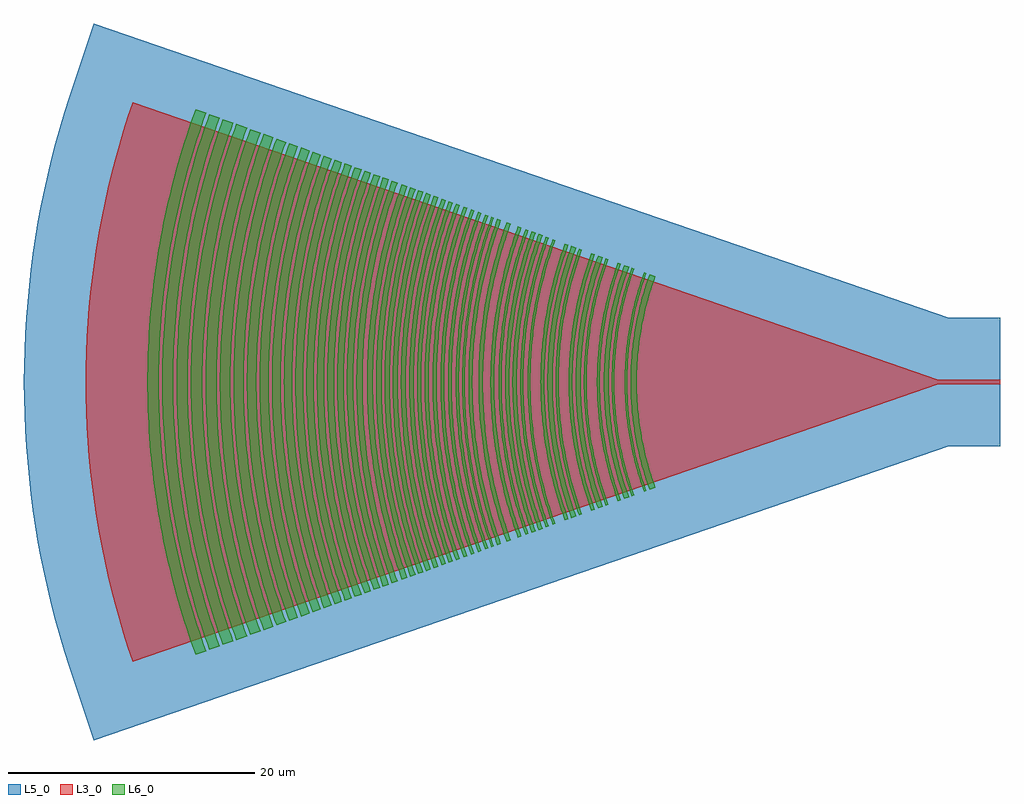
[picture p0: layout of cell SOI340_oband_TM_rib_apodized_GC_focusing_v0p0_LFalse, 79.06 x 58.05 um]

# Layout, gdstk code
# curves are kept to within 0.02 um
import gdstk
lib = gdstk.Library(unit=1e-6, precision=1e-09)
def P(c, l, *ps):  # polygons
    for p in ps: c.add(gdstk.Polygon(p, *l))
L3_0 = (3, 0)
L5_0 = (5, 0)
L6_0 = (6, 0)

soi340_oband_tm_rib_apod = lib.new_cell('SOI340_oband_TM_rib_apodized_GC_focusing_v0p0_LFalse')
P(soi340_oband_tm_rib_apod, L3_0, [(-70.264,-22.672),(-71.015,-20.36),(-71.685,-18.024),(-71.989,-16.847),(-72.273,-15.665),(-72.779,-13.288),(-73.201,-10.894),(-73.539,-8.487),(-73.793,-6.069),(-73.963,-3.645),(-74.016,-2.43),(-74.058,0),(-74.016,2.43),(-73.963,3.645),(-73.793,6.069),(-73.539,8.487),(-73.201,10.894),(-72.779,13.288),(-72.273,15.665),(-71.989,16.847),(-71.36,19.195),(-70.65,21.52),(-70.264,22.672),(-5,0.2),(0,0.2),(0,-0.2),(-5,-0.2)])
P(soi340_oband_tm_rib_apod, L5_0, [(-73.364,-29.027),(-73.416,-29.001),(-75.406,-23.065),(-76.166,-20.574),(-76.841,-18.056),(-77.427,-15.52),(-77.687,-14.242),(-78.14,-11.676),(-78.502,-9.098),(-78.65,-7.801),(-78.876,-5.208),(-78.956,-3.908),(-79.013,-2.603),(-79.058,0),(-79.013,2.603),(-78.956,3.908),(-78.876,5.208),(-78.65,7.801),(-78.502,9.098),(-78.14,11.676),(-77.687,14.242),(-77.427,15.52),(-76.841,18.056),(-76.166,20.574),(-75.406,23.065),(-73.416,29.001),(-73.364,29.027),(-4.163,5.2),(0,5.2),(0,-5.2),(-4.163,-5.2)])
P(soi340_oband_tm_rib_apod, L6_0, [(-28.389,-8.723),(-28.746,-7.672),(-29.058,-6.602),(-29.322,-5.522),(-29.539,-4.429),(-29.709,-3.329),(-29.83,-2.223),(-29.903,-1.112),(-29.927,0),(-29.903,1.112),(-29.83,2.223),(-29.709,3.329),(-29.539,4.429),(-29.322,5.522),(-29.058,6.602),(-28.746,7.672),(-28.389,8.723),(-27.911,8.551),(-28.262,7.518),(-28.567,6.47),(-28.826,5.411),(-29.039,4.341),(-29.205,3.263),(-29.324,2.179),(-29.395,1.09),(-29.419,0),(-29.395,-1.09),(-29.324,-2.179),(-29.205,-3.263),(-29.039,-4.341),(-28.826,-5.411),(-28.567,-6.47),(-28.262,-7.518),(-27.911,-8.551)],
  [(-28.831,-8.884),(-29.196,-7.812),(-29.513,-6.724),(-29.782,-5.624),(-30.003,-4.511),(-30.205,-3.166),(-30.299,-2.265),(-30.373,-1.132),(-30.398,0),(-30.373,1.132),(-30.299,2.265),(-30.205,3.166),(-30.003,4.511),(-29.782,5.624),(-29.513,6.724),(-29.196,7.812),(-28.831,8.884),(-28.643,8.817),(-29.072,7.537),(-29.377,6.455),(-29.635,5.36),(-29.881,4.033),(-30.119,2.023),(-30.198,0),(-30.119,-2.023),(-29.881,-4.033),(-29.635,-5.36),(-29.377,-6.455),(-29.072,-7.537),(-28.643,-8.817)],
  [(-29.814,-9.242),(-30.193,-8.126),(-30.523,-6.995),(-30.803,-5.85),(-31.033,-4.693),(-31.213,-3.527),(-31.341,-2.355),(-31.418,-1.179),(-31.444,0),(-31.418,1.179),(-31.341,2.355),(-31.213,3.527),(-31.033,4.693),(-30.803,5.85),(-30.523,6.995),(-30.193,8.126),(-29.814,9.242),(-29.626,9.175),(-30.072,7.843),(-30.39,6.716),(-30.658,5.577),(-30.914,4.196),(-31.072,3.037),(-31.161,2.105),(-31.228,0.936),(-31.244,0),(-31.228,-0.936),(-31.161,-2.105),(-31.072,-3.037),(-30.914,-4.196),(-30.658,-5.577),(-30.39,-6.716),(-30.072,-7.843),(-29.626,-9.175)],
  [(-30.418,-9.46),(-30.806,-8.319),(-31.144,-7.161),(-31.43,-5.988),(-31.666,-4.805),(-31.85,-3.611),(-32.001,-2.171),(-32.06,-1.206),(-32.086,0),(-32.06,1.206),(-32.001,2.171),(-31.85,3.611),(-31.666,4.805),(-31.43,5.988),(-31.144,7.161),(-30.806,8.319),(-30.418,9.46),(-30.051,9.329),(-30.434,8.202),(-30.767,7.06),(-31.049,5.904),(-31.282,4.737),(-31.463,3.56),(-31.592,2.377),(-31.67,1.19),(-31.696,0),(-31.67,-1.19),(-31.592,-2.377),(-31.463,-3.56),(-31.282,-4.737),(-31.049,-5.904),(-30.767,-7.06),(-30.434,-8.202),(-30.051,-9.329)],
  [(-30.945,-9.654),(-31.414,-8.254),(-31.685,-7.305),(-31.978,-6.109),(-32.218,-4.902),(-32.406,-3.684),(-32.539,-2.461),(-32.62,-1.231),(-32.647,0),(-32.62,1.231),(-32.539,2.461),(-32.406,3.684),(-32.218,4.902),(-31.978,6.109),(-31.685,7.305),(-31.414,8.254),(-30.945,9.654),(-30.725,9.575),(-31.19,8.185),(-31.521,7.009),(-31.851,5.581),(-32.106,4.138),(-32.327,2.196),(-32.396,0.977),(-32.413,0),(-32.396,-0.977),(-32.327,-2.196),(-32.106,-4.138),(-31.851,-5.581),(-31.521,-7.009),(-31.19,-8.185),(-30.725,-9.575)],
  [(-31.939,-10.014),(-32.425,-8.563),(-32.706,-7.579),(-33.01,-6.338),(-33.259,-5.085),(-33.453,-3.823),(-33.592,-2.552),(-33.676,-1.277),(-33.704,0),(-33.676,1.277),(-33.592,2.552),(-33.453,3.823),(-33.259,5.085),(-33.01,6.338),(-32.706,7.579),(-32.425,8.563),(-31.939,10.014),(-31.738,9.943),(-32.221,8.5),(-32.565,7.279),(-32.907,5.796),(-33.172,4.297),(-33.332,3.039),(-33.42,2.028),(-33.491,0),(-33.42,-2.028),(-33.332,-3.039),(-33.172,-4.297),(-32.907,-5.796),(-32.565,-7.279),(-32.221,-8.5),(-31.738,-9.943)],
  [(-32.558,-10.24),(-32.977,-9.005),(-33.342,-7.749),(-33.653,-6.481),(-33.908,-5.2),(-34.107,-3.909),(-34.249,-2.609),(-34.335,-1.305),(-34.363,0),(-34.335,1.305),(-34.249,2.609),(-34.107,3.909),(-33.908,5.2),(-33.653,6.481),(-33.342,7.749),(-32.977,9.005),(-32.558,10.24),(-32.177,10.103),(-32.591,8.883),(-32.951,7.645),(-33.258,6.393),(-33.509,5.129),(-33.705,3.856),(-33.846,2.574),(-33.93,1.288),(-33.958,0),(-33.93,-1.288),(-33.846,-2.574),(-33.705,-3.856),(-33.509,-5.129),(-33.258,-6.393),(-32.951,-7.645),(-32.591,-8.883),(-32.177,-10.103)],
  [(-33.095,-10.436),(-33.523,-9.177),(-33.895,-7.898),(-34.212,-6.605),(-34.471,-5.3),(-34.674,-3.983),(-34.819,-2.659),(-34.906,-1.331),(-34.935,0),(-34.906,1.331),(-34.819,2.659),(-34.674,3.983),(-34.471,5.3),(-34.212,6.605),(-33.895,7.898),(-33.523,9.177),(-33.095,10.436),(-32.812,10.334),(-33.236,9.086),(-33.672,7.565),(-34.027,6.024),(-34.302,4.466),(-34.541,2.371),(-34.616,1.054),(-34.634,0),(-34.616,-1.054),(-34.541,-2.371),(-34.302,-4.466),(-34.027,-6.024),(-33.672,-7.565),(-33.236,-9.086),(-32.812,-10.334)],
  [(-34.089,-10.799),(-34.533,-9.495),(-34.918,-8.172),(-35.245,-6.833),(-35.514,-5.483),(-35.724,-4.122),(-35.874,-2.752),(-35.964,-1.378),(-35.994,0),(-35.964,1.378),(-35.874,2.752),(-35.724,4.122),(-35.514,5.483),(-35.245,6.833),(-34.918,8.172),(-34.533,9.495),(-34.089,10.799),(-33.861,10.716),(-34.301,9.422),(-34.753,7.845),(-35.122,6.247),(-35.407,4.631),(-35.55,3.547),(-35.675,2.186),(-35.751,0),(-35.675,-2.186),(-35.55,-3.547),(-35.407,-4.631),(-35.122,-6.247),(-34.753,-7.845),(-34.301,-9.422),(-33.861,-10.716)],
  [(-34.72,-11.027),(-35.172,-9.696),(-35.566,-8.345),(-35.9,-6.98),(-36.175,-5.599),(-36.388,-4.209),(-36.541,-2.811),(-36.634,-1.407),(-36.664,0),(-36.634,1.407),(-36.541,2.811),(-36.388,4.209),(-36.175,5.599),(-35.9,6.98),(-35.566,8.345),(-35.172,9.696),(-34.72,11.027),(-34.325,10.885),(-34.771,9.57),(-35.16,8.237),(-35.49,6.888),(-35.761,5.526),(-35.972,4.154),(-36.123,2.774),(-36.214,1.388),(-36.244,0),(-36.214,-1.388),(-36.123,-2.774),(-35.972,-4.154),(-35.761,-5.526),(-35.49,-6.888),(-35.16,-8.237),(-34.771,-9.57),(-34.325,-10.885)],
  [(-35.243,-11.218),(-35.703,-9.863),(-36.104,-8.49),(-36.444,-7.1),(-36.722,-5.696),(-36.94,-4.281),(-37.096,-2.859),(-37.19,-1.431),(-37.221,0),(-37.19,1.431),(-37.096,2.859),(-36.94,4.281),(-36.722,5.696),(-36.444,7.1),(-36.104,8.49),(-35.703,9.863),(-35.243,11.218),(-34.954,11.114),(-35.494,9.501),(-35.949,7.861),(-36.262,6.478),(-36.557,4.803),(-36.814,2.55),(-36.883,1.417),(-36.914,0),(-36.883,-1.417),(-36.814,-2.55),(-36.557,-4.803),(-36.262,-6.478),(-35.949,-7.861),(-35.494,-9.501),(-34.954,-11.114)],
  [(-36.214,-11.572),(-36.689,-10.175),(-37.102,-8.757),(-37.453,-7.323),(-37.741,-5.876),(-37.965,-4.417),(-38.126,-2.948),(-38.223,-1.476),(-38.255,0),(-38.223,1.476),(-38.126,2.948),(-37.965,4.417),(-37.741,5.876),(-37.453,7.323),(-37.102,8.757),(-36.689,10.175),(-36.214,11.572),(-36.014,11.5),(-36.486,10.111),(-36.971,8.419),(-37.367,6.703),(-37.628,5.26),(-37.826,3.806),(-37.938,2.638),(-38.022,1.173),(-38.042,0),(-38.022,-1.173),(-37.938,-2.638),(-37.826,-3.806),(-37.628,-5.26),(-37.367,-6.703),(-36.971,-8.419),(-36.486,-10.111),(-36.014,-11.5)],
  [(-36.781,-11.778),(-37.263,-10.356),(-37.684,-8.914),(-38.105,-7.161),(-38.333,-5.98),(-38.562,-4.495),(-38.726,-3.001),(-38.824,-1.503),(-38.857,0),(-38.824,1.503),(-38.726,3.001),(-38.562,4.495),(-38.333,5.98),(-38.105,7.161),(-37.684,8.914),(-37.263,10.356),(-36.781,11.778),(-36.553,11.696),(-37.121,9.998),(-37.526,8.562),(-37.929,6.818),(-38.194,5.349),(-38.36,4.167),(-38.51,2.683),(-38.594,1.193),(-38.615,0),(-38.594,-1.193),(-38.51,-2.683),(-38.36,-4.167),(-38.194,-5.349),(-37.929,-6.818),(-37.526,-8.562),(-37.121,-9.998),(-36.553,-11.696)],
  [(-37.376,-11.993),(-37.867,-10.546),(-38.295,-9.077),(-38.659,-7.591),(-38.957,-6.09),(-39.19,-4.578),(-39.357,-3.056),(-39.457,-1.53),(-39.49,0),(-39.457,1.53),(-39.357,3.056),(-39.19,4.578),(-38.957,6.09),(-38.659,7.591),(-38.295,9.077),(-37.867,10.546),(-37.376,11.993),(-37.05,11.877),(-37.627,10.153),(-38.113,8.401),(-38.447,6.923),(-38.763,5.133),(-38.921,3.931),(-39.037,2.724),(-39.123,1.212),(-39.144,0),(-39.123,-1.212),(-39.037,-2.724),(-38.921,-3.931),(-38.763,-5.133),(-38.447,-6.923),(-38.113,-8.401),(-37.627,-10.153),(-37.05,-11.877)],
  [(-37.932,-12.197),(-38.433,-10.725),(-38.868,-9.231),(-39.238,-7.719),(-39.541,-6.193),(-39.778,-4.655),(-39.948,-3.108),(-40.049,-1.555),(-40.083,0),(-40.049,1.555),(-39.948,3.108),(-39.778,4.655),(-39.541,6.193),(-39.238,7.719),(-38.868,9.231),(-38.433,10.725),(-37.932,12.197),(-37.617,12.083),(-38.204,10.329),(-38.699,8.547),(-39.039,7.043),(-39.36,5.222),(-39.521,3.999),(-39.662,2.464),(-39.726,1.233),(-39.748,0),(-39.726,-1.233),(-39.662,-2.464),(-39.521,-3.999),(-39.36,-5.222),(-39.039,-7.043),(-38.699,-8.547),(-38.204,-10.329),(-37.617,-12.083)],
  [(-38.428,-12.377),(-38.935,-10.883),(-39.377,-9.367),(-39.752,-7.833),(-40.06,-6.285),(-40.3,-4.724),(-40.472,-3.155),(-40.576,-1.578),(-40.61,0),(-40.576,1.578),(-40.472,3.155),(-40.3,4.724),(-40.06,6.285),(-39.752,7.833),(-39.377,9.367),(-38.935,10.883),(-38.428,12.377),(-38.206,12.297),(-38.71,10.812),(-39.229,9.002),(-39.652,7.168),(-39.931,5.625),(-40.143,4.07),(-40.263,2.821),(-40.34,1.568),(-40.374,0),(-40.34,-1.568),(-40.263,-2.821),(-40.143,-4.07),(-39.931,-5.625),(-39.652,-7.168),(-39.229,-9.002),(-38.71,-10.812),(-38.206,-12.297)],
  [(-39.053,-12.605),(-39.569,-11.083),(-40.02,-9.539),(-40.402,-7.977),(-40.715,-6.4),(-40.959,-4.811),(-41.135,-3.212),(-41.24,-1.607),(-41.275,0),(-41.24,1.607),(-41.135,3.212),(-40.959,4.811),(-40.715,6.4),(-40.402,7.977),(-40.02,9.539),(-39.569,11.083),(-39.053,12.605),(-38.765,12.501),(-39.372,10.686),(-39.805,9.151),(-40.235,7.287),(-40.568,5.402),(-40.769,3.821),(-40.88,2.55),(-40.947,1.276),(-40.969,0),(-40.947,-1.276),(-40.88,-2.55),(-40.769,-3.821),(-40.568,-5.402),(-40.235,-7.287),(-39.805,-9.151),(-39.372,-10.686),(-38.765,-12.501)],
  [(-39.959,-12.934),(-40.49,-11.374),(-40.951,-9.789),(-41.344,-8.185),(-41.666,-6.567),(-41.916,-4.937),(-42.096,-3.296),(-42.204,-1.649),(-42.24,0),(-42.204,1.649),(-42.096,3.296),(-41.916,4.937),(-41.666,6.567),(-41.344,8.185),(-40.951,9.789),(-40.49,11.374),(-39.959,12.934),(-39.626,12.814),(-40.152,11.267),(-40.693,9.381),(-41.134,7.47),(-41.474,5.538),(-41.645,4.241),(-41.771,2.94),(-41.863,1.308),(-41.886,0),(-41.863,-1.308),(-41.771,-2.94),(-41.645,-4.241),(-41.474,-5.538),(-41.134,-7.47),(-40.693,-9.381),(-40.152,-11.267),(-39.626,-12.814)],
  [(-40.719,-13.211),(-41.261,-11.616),(-41.733,-9.998),(-42.133,-8.361),(-42.462,-6.708),(-42.718,-5.042),(-42.902,-3.367),(-43.013,-1.685),(-43.049,0),(-43.013,1.685),(-42.902,3.367),(-42.718,5.042),(-42.462,6.708),(-42.133,8.361),(-41.733,9.998),(-41.261,11.616),(-40.719,13.211),(-40.421,13.104),(-40.959,11.521),(-41.512,9.593),(-41.963,7.638),(-42.311,5.663),(-42.486,4.337),(-42.639,2.673),(-42.709,1.337),(-42.732,0),(-42.709,-1.337),(-42.639,-2.673),(-42.486,-4.337),(-42.311,-5.663),(-41.963,-7.638),(-41.512,-9.593),(-40.959,-11.521),(-40.421,-13.104)],
  [(-41.194,-13.385),(-41.743,-11.768),(-42.22,-10.129),(-42.626,-8.47),(-42.96,-6.795),(-43.219,-5.109),(-43.405,-3.411),(-43.517,-1.707),(-43.554,0),(-43.517,1.707),(-43.405,3.411),(-43.219,5.109),(-42.96,6.795),(-42.626,8.47),(-42.22,10.129),(-41.743,11.768),(-41.194,13.385),(-41.003,13.316),(-41.65,11.383),(-42.111,9.748),(-42.5,8.094),(-42.872,6.09),(-43.101,4.407),(-43.231,3.055),(-43.314,1.698),(-43.351,0),(-43.314,-1.698),(-43.231,-3.055),(-43.101,-4.407),(-42.872,-6.09),(-42.5,-8.094),(-42.111,-9.748),(-41.65,-11.383),(-41.003,-13.316)],
  [(-41.691,-13.564),(-42.247,-11.927),(-42.731,-10.266),(-43.143,-8.585),(-43.48,-6.887),(-43.744,-5.178),(-43.932,-3.456),(-44.045,-1.73),(-44.083,0),(-44.045,1.73),(-43.932,3.456),(-43.744,5.178),(-43.48,6.887),(-43.143,8.585),(-42.731,10.266),(-42.247,11.927),(-41.691,13.564),(-41.456,13.48),(-42.111,11.524),(-42.578,9.868),(-42.972,8.195),(-43.348,6.166),(-43.58,4.462),(-43.711,3.092),(-43.809,1.376),(-43.833,0),(-43.809,-1.376),(-43.711,-3.092),(-43.58,-4.462),(-43.348,-6.166),(-42.972,-8.195),(-42.578,-9.868),(-42.111,-11.524),(-41.456,-13.48)],
  [(-42.279,-13.779),(-42.844,-12.116),(-43.336,-10.428),(-43.754,-8.72),(-44.097,-6.996),(-44.365,-5.259),(-44.556,-3.512),(-44.671,-1.758),(-44.709,0),(-44.671,1.758),(-44.556,3.512),(-44.365,5.259),(-44.097,6.996),(-43.754,8.72),(-43.336,10.428),(-42.844,12.116),(-42.279,13.779),(-42.014,13.684),(-42.679,11.697),(-43.239,9.679),(-43.624,7.976),(-43.988,5.914),(-44.17,4.529),(-44.33,2.791),(-44.403,1.396),(-44.427,0),(-44.403,-1.396),(-44.33,-2.791),(-44.208,-4.182),(-43.988,-5.914),(-43.624,-7.976),(-43.239,-9.679),(-42.679,-11.697),(-42.014,-13.684)],
  [(-42.85,-13.987),(-43.423,-12.298),(-43.922,-10.585),(-44.346,-8.852),(-44.695,-7.101),(-44.967,-5.338),(-45.16,-3.565),(-45.277,-1.783),(-45.316,0),(-45.277,1.783),(-45.16,3.565),(-44.967,5.338),(-44.695,7.101),(-44.346,8.852),(-43.922,10.585),(-43.423,12.298),(-42.85,13.987),(-42.582,13.89),(-43.256,11.874),(-43.737,10.168),(-44.144,8.444),(-44.531,6.353),(-44.77,4.597),(-44.906,3.186),(-45.006,1.417),(-45.031,0),(-45.006,-1.417),(-44.906,-3.186),(-44.77,-4.597),(-44.531,-6.353),(-44.144,-8.444),(-43.737,-10.168),(-43.256,-11.874),(-42.582,-13.89)],
  [(-43.455,-14.207),(-44.037,-12.492),(-44.544,-10.751),(-44.975,-8.99),(-45.329,-7.214),(-45.604,-5.422),(-45.802,-3.62),(-45.921,-1.812),(-45.96,0),(-45.921,1.812),(-45.802,3.62),(-45.604,5.422),(-45.329,7.214),(-44.975,8.99),(-44.544,10.751),(-44.037,12.492),(-43.455,14.207),(-43.152,14.098),(-43.837,12.051),(-44.325,10.32),(-44.811,8.218),(-45.131,6.448),(-45.331,5.023),(-45.511,3.234),(-45.599,1.798),(-45.638,0),(-45.599,-1.798),(-45.511,-3.234),(-45.331,-5.023),(-45.131,-6.448),(-44.811,-8.218),(-44.325,-10.32),(-43.837,-12.051),(-43.152,-14.098)],
  [(-44.064,-14.429),(-44.655,-12.686),(-45.171,-10.92),(-45.608,-9.132),(-45.967,-7.326),(-46.247,-5.507),(-46.448,-3.678),(-46.568,-1.84),(-46.608,0),(-46.568,1.84),(-46.448,3.678),(-46.247,5.507),(-45.967,7.326),(-45.608,9.132),(-45.171,10.92),(-44.655,12.686),(-44.064,14.429),(-43.756,14.318),(-44.452,12.239),(-44.948,10.481),(-45.441,8.346),(-45.766,6.549),(-46.012,4.739),(-46.152,3.284),(-46.241,1.826),(-46.281,0),(-46.241,-1.826),(-46.152,-3.284),(-46.012,-4.739),(-45.766,-6.549),(-45.441,-8.346),(-44.948,-10.481),(-44.452,-12.239),(-43.756,-14.318)],
  [(-44.635,-14.636),(-45.234,-12.869),(-45.757,-11.076),(-46.2,-9.263),(-46.565,-7.432),(-46.849,-5.585),(-47.052,-3.731),(-47.175,-1.867),(-47.215,0),(-47.175,1.867),(-47.052,3.731),(-46.849,5.585),(-46.565,7.432),(-46.2,9.263),(-45.757,11.076),(-45.234,12.869),(-44.635,14.636),(-44.328,14.526),(-45.033,12.417),(-45.536,10.634),(-46.036,8.467),(-46.423,6.277),(-46.616,4.808),(-46.786,2.963),(-46.863,1.482),(-46.889,0),(-46.863,-1.482),(-46.786,-2.963),(-46.616,-4.808),(-46.423,-6.277),(-46.036,-8.467),(-45.536,-10.634),(-45.033,-12.417),(-44.328,-14.526)],
  [(-45.231,-14.852),(-45.839,-13.06),(-46.369,-11.241),(-46.819,-9.4),(-47.19,-7.541),(-47.478,-5.669),(-47.684,-3.785),(-47.808,-1.895),(-47.849,0),(-47.808,1.895),(-47.684,3.785),(-47.478,5.669),(-47.19,7.541),(-46.819,9.4),(-46.369,11.241),(-45.839,13.06),(-45.231,14.852),(-44.893,14.731),(-45.608,12.593),(-46.211,10.42),(-46.699,8.218),(-47.017,6.366),(-47.254,4.502),(-47.385,3.004),(-47.464,1.503),(-47.49,0),(-47.464,-1.503),(-47.385,-3.004),(-47.254,-4.502),(-47.017,-6.366),(-46.699,-8.218),(-46.211,-10.42),(-45.608,-12.593),(-44.893,-14.731)],
  [(-45.864,-15.083),(-46.482,-13.263),(-47.02,-11.415),(-47.478,-9.545),(-47.853,-7.659),(-48.146,-5.757),(-48.356,-3.844),(-48.481,-1.924),(-48.523,0),(-48.481,1.924),(-48.356,3.844),(-48.146,5.757),(-47.853,7.659),(-47.478,9.545),(-47.02,11.415),(-46.482,13.263),(-45.864,15.083),(-45.497,14.951),(-46.223,12.781),(-46.835,10.575),(-47.33,8.341),(-47.653,6.461),(-47.894,4.569),(-48.027,3.049),(-48.106,1.526),(-48.133,0),(-48.106,-1.526),(-48.027,-3.049),(-47.894,-4.569),(-47.653,-6.461),(-47.33,-8.341),(-46.835,-10.575),(-46.223,-12.781),(-45.497,-14.951)],
  [(-46.487,-15.31),(-47.116,-13.461),(-47.661,-11.587),(-48.126,-9.689),(-48.507,-7.774),(-48.804,-5.843),(-49.016,-3.902),(-49.145,-1.953),(-49.187,0),(-49.145,1.953),(-49.016,3.902),(-48.804,5.843),(-48.507,7.774),(-48.126,9.689),(-47.661,11.587),(-47.116,13.461),(-46.487,15.31),(-46.11,15.174),(-46.733,13.341),(-47.373,11.109),(-47.895,8.845),(-48.299,6.558),(-48.501,5.022),(-48.678,3.095),(-48.759,1.548),(-48.786,0),(-48.759,-1.548),(-48.678,-3.095),(-48.501,-5.022),(-48.299,-6.558),(-47.895,-8.845),(-47.373,-11.109),(-46.733,-13.341),(-46.11,-15.174)],
  [(-47.109,-15.536),(-47.745,-13.661),(-48.3,-11.758),(-48.771,-9.833),(-49.158,-7.889),(-49.46,-5.929),(-49.675,-3.96),(-49.805,-1.982),(-49.848,0),(-49.805,1.982),(-49.675,3.96),(-49.46,5.929),(-49.158,7.889),(-48.771,9.833),(-48.3,11.758),(-47.745,13.661),(-47.109,15.536),(-46.722,15.397),(-47.47,13.162),(-48.1,10.891),(-48.61,8.59),(-48.943,6.654),(-49.148,5.096),(-49.298,3.532),(-49.41,1.571),(-49.437,0),(-49.41,-1.571),(-49.298,-3.532),(-49.148,-5.096),(-48.943,-6.654),(-48.61,-8.59),(-48.1,-10.891),(-47.47,-13.162),(-46.722,-15.397)],
  [(-47.76,-15.773),(-48.406,-13.869),(-48.969,-11.937),(-49.447,-9.983),(-49.84,-8.009),(-50.146,-6.02),(-50.365,-4.019),(-50.498,-2.012),(-50.541,0),(-50.498,2.012),(-50.365,4.019),(-50.146,6.02),(-49.84,8.009),(-49.447,9.983),(-48.969,11.937),(-48.406,13.869),(-47.76,15.773),(-47.344,15.623),(-47.985,13.736),(-48.644,11.437),(-49.182,9.107),(-49.597,6.752),(-49.849,4.775),(-49.988,3.186),(-50.071,1.594),(-50.099,0),(-50.071,-1.594),(-49.988,-3.186),(-49.849,-4.775),(-49.597,-6.752),(-49.182,-9.107),(-48.644,-11.437),(-47.985,-13.736),(-47.344,-15.623)],
  [(-48.443,-16.02),(-49.099,-14.087),(-49.671,-12.125),(-50.157,-10.139),(-50.555,-8.135),(-50.866,-6.114),(-51.088,-4.084),(-51.223,-2.044),(-51.267,0),(-51.223,2.044),(-51.088,4.084),(-50.866,6.114),(-50.555,8.135),(-50.157,10.139),(-49.671,12.125),(-49.099,14.087),(-48.443,16.02),(-48.006,15.864),(-48.656,13.948),(-49.326,11.614),(-49.872,9.247),(-50.294,6.856),(-50.505,5.251),(-50.69,3.236),(-50.775,1.619),(-50.803,0),(-50.775,-1.619),(-50.69,-3.236),(-50.505,-5.251),(-50.294,-6.856),(-49.872,-9.247),(-49.326,-11.614),(-48.656,-13.948),(-48.006,-15.864)],
  [(-49.25,-16.316),(-49.919,-14.346),(-50.501,-12.347),(-50.996,-10.326),(-51.403,-8.284),(-51.719,-6.227),(-51.945,-4.157),(-52.082,-2.081),(-52.127,0),(-52.082,2.081),(-51.945,4.157),(-51.719,6.227),(-51.403,8.284),(-50.996,10.326),(-50.501,12.347),(-49.919,14.346),(-49.25,16.316),(-48.79,16.15),(-49.453,14.199),(-50.134,11.823),(-50.69,9.414),(-51.119,6.979),(-51.379,4.936),(-51.523,3.294),(-51.609,1.648),(-51.638,0),(-51.609,-1.648),(-51.523,-3.294),(-51.379,-4.936),(-51.119,-6.979),(-50.69,-9.414),(-50.134,-11.823),(-49.453,-14.199),(-48.79,-16.15)],
  [(-49.979,-16.58),(-50.658,-14.58),(-51.25,-12.548),(-51.753,-10.494),(-52.165,-8.418),(-52.488,-6.328),(-52.717,-4.225),(-52.856,-2.116),(-52.902,0),(-52.856,2.116),(-52.717,4.225),(-52.488,6.328),(-52.165,8.418),(-51.753,10.494),(-51.25,12.548),(-50.658,14.58),(-49.979,16.58),(-49.499,16.408),(-50.172,14.426),(-50.757,12.416),(-51.255,10.383),(-51.663,8.33),(-51.982,6.262),(-52.209,4.181),(-52.346,2.093),(-52.392,0),(-52.346,-2.093),(-52.209,-4.181),(-51.982,-6.262),(-51.663,-8.33),(-51.255,-10.383),(-50.757,-12.416),(-50.172,-14.426),(-49.499,-16.408)],
  [(-50.716,-16.847),(-51.406,-14.815),(-52.007,-12.752),(-52.519,-10.663),(-52.938,-8.556),(-53.264,-6.431),(-53.499,-4.294),(-53.64,-2.149),(-53.686,0),(-53.64,2.149),(-53.499,4.294),(-53.264,6.431),(-52.938,8.556),(-52.519,10.663),(-52.007,12.752),(-51.406,14.815),(-50.716,16.847),(-50.22,16.67),(-50.903,14.656),(-51.498,12.615),(-52.004,10.549),(-52.419,8.464),(-52.742,6.362),(-52.974,4.248),(-53.113,2.126),(-53.159,0),(-53.113,-2.126),(-52.974,-4.248),(-52.742,-6.362),(-52.419,-8.464),(-52.004,-10.549),(-51.498,-12.615),(-50.903,-14.656),(-50.22,-16.67)],
  [(-51.476,-17.125),(-52.178,-15.059),(-52.79,-12.961),(-53.309,-10.839),(-53.736,-8.695),(-54.067,-6.537),(-54.306,-4.364),(-54.448,-2.184),(-54.496,0),(-54.448,2.184),(-54.306,4.364),(-54.067,6.537),(-53.736,8.695),(-53.309,10.839),(-52.79,12.961),(-52.178,15.059),(-51.476,17.125),(-50.954,16.938),(-51.649,14.892),(-52.254,12.817),(-52.767,10.719),(-53.189,8.599),(-53.517,6.464),(-53.753,4.316),(-53.894,2.16),(-53.941,0),(-53.894,-2.16),(-53.753,-4.316),(-53.517,-6.464),(-53.189,-8.599),(-52.767,-10.719),(-52.254,-12.817),(-51.649,-14.892),(-50.954,-16.938)],
  [(-52.261,-17.41),(-52.973,-15.309),(-53.595,-13.177),(-54.123,-11.019),(-54.556,-8.841),(-54.894,-6.646),(-55.136,-4.438),(-55.281,-2.22),(-55.33,0),(-55.281,2.22),(-55.136,4.438),(-54.894,6.646),(-54.556,8.841),(-54.123,11.019),(-53.595,13.177),(-52.973,15.309),(-52.261,17.41),(-51.717,17.215),(-52.422,15.135),(-53.037,13.027),(-53.559,10.894),(-53.987,8.74),(-54.321,6.57),(-54.56,4.387),(-54.704,2.195),(-54.752,0),(-54.704,-2.195),(-54.56,-4.387),(-54.321,-6.57),(-53.987,-8.74),(-53.559,-10.894),(-53.037,-13.027),(-52.422,-15.135),(-51.717,-17.215)],
  [(-53.066,-17.703),(-53.791,-15.567),(-54.423,-13.398),(-54.96,-11.205),(-55.401,-8.989),(-55.744,-6.758),(-55.99,-4.512),(-56.137,-2.258),(-56.187,0),(-56.137,2.258),(-55.99,4.512),(-55.744,6.758),(-55.401,8.989),(-54.96,11.205),(-54.423,13.398),(-53.791,15.567),(-53.066,17.703),(-52.501,17.5),(-53.219,15.387),(-53.843,13.243),(-54.374,11.075),(-54.81,8.885),(-55.149,6.679),(-55.392,4.46),(-55.538,2.232),(-55.587,0),(-55.538,-2.232),(-55.392,-4.46),(-55.149,-6.679),(-54.81,-8.885),(-54.374,-11.075),(-53.843,-13.243),(-53.219,-15.387),(-52.501,-17.5)],
  [(-53.901,-18.007),(-54.638,-15.834),(-55.28,-13.629),(-55.827,-11.397),(-56.275,-9.144),(-56.625,-6.872),(-56.875,-4.59),(-57.024,-2.296),(-57.075,0),(-57.024,2.296),(-56.875,4.59),(-56.625,6.872),(-56.275,9.144),(-55.827,11.397),(-55.28,13.629),(-54.638,15.834),(-53.901,18.007),(-53.305,17.793),(-54.034,15.644),(-54.669,13.465),(-55.209,11.26),(-55.652,9.034),(-55.997,6.79),(-56.244,4.534),(-56.392,2.269),(-56.442,0),(-56.392,-2.269),(-56.244,-4.534),(-55.997,-6.79),(-55.652,-9.034),(-55.209,-11.26),(-54.669,-13.465),(-54.034,-15.644),(-53.305,-17.793)],
  [(-54.769,-18.323),(-55.519,-16.113),(-56.173,-13.867),(-56.729,-11.597),(-57.185,-9.303),(-57.54,-6.994),(-57.795,-4.67),(-57.948,-2.338),(-57.999,0),(-57.948,2.338),(-57.795,4.67),(-57.54,6.994),(-57.185,9.303),(-56.729,11.597),(-56.173,13.867),(-55.519,16.113),(-54.769,18.323),(-54.142,18.098),(-54.884,15.912),(-55.53,13.695),(-56.079,11.453),(-56.529,9.188),(-56.88,6.907),(-57.132,4.612),(-57.283,2.308),(-57.333,0),(-57.283,-2.308),(-57.132,-4.612),(-56.88,-6.907),(-56.529,-9.188),(-56.079,-11.453),(-55.53,-13.695),(-54.884,-15.912),(-54.142,-18.098)],
  [(-55.677,-18.653),(-56.441,-16.402),(-57.106,-14.118),(-57.672,-11.806),(-58.136,-9.473),(-58.498,-7.12),(-58.757,-4.754),(-58.913,-2.38),(-58.965,0),(-58.913,2.38),(-58.757,4.754),(-58.498,7.12),(-58.136,9.473),(-57.672,11.806),(-57.106,14.118),(-56.441,16.402),(-55.677,18.653),(-55.015,18.415),(-55.77,16.191),(-56.427,13.936),(-56.986,11.654),(-57.444,9.35),(-57.801,7.028),(-58.057,4.693),(-58.211,2.349),(-58.262,0),(-58.211,-2.349),(-58.057,-4.693),(-57.801,-7.028),(-57.444,-9.35),(-56.986,-11.654),(-56.427,-13.936),(-55.77,-16.191),(-55.015,-18.415)],
  [(-56.619,-18.996),(-57.397,-16.704),(-58.075,-14.378),(-58.652,-12.023),(-59.124,-9.646),(-59.493,-7.25),(-59.756,-4.841),(-59.915,-2.423),(-59.968,0),(-59.915,2.423),(-59.756,4.841),(-59.493,7.25),(-59.124,9.646),(-58.652,12.023),(-58.075,14.378),(-57.397,16.704),(-56.619,18.996),(-55.927,18.747),(-56.696,16.483),(-57.365,14.187),(-57.934,11.864),(-58.4,9.518),(-58.764,7.155),(-59.024,4.777),(-59.181,2.391),(-59.233,0),(-59.181,-2.391),(-59.024,-4.777),(-58.764,-7.155),(-58.4,-9.518),(-57.934,-11.864),(-57.365,-14.187),(-56.696,-16.483),(-55.927,-18.747)],
  [(-57.586,-19.348),(-58.378,-17.014),(-59.069,-14.643),(-59.656,-12.245),(-60.137,-9.825),(-60.513,-7.385),(-60.782,-4.931),(-60.943,-2.467),(-60.997,0),(-60.943,2.467),(-60.782,4.931),(-60.513,7.385),(-60.137,9.825),(-59.656,12.245),(-59.069,14.643),(-58.378,17.014),(-57.586,19.348),(-56.864,19.088),(-57.647,16.783),(-58.328,14.445),(-58.907,12.08),(-59.382,9.691),(-59.753,7.285),(-60.018,4.864),(-60.177,2.434),(-60.23,0),(-60.177,-2.434),(-60.018,-4.864),(-59.753,-7.285),(-59.382,-9.691),(-58.907,-12.08),(-58.328,-14.445),(-57.647,-16.783),(-56.864,-19.088)],
  [(-58.599,-19.717),(-59.406,-17.337),(-60.11,-14.922),(-60.709,-12.479),(-61.199,-10.012),(-61.582,-7.525),(-61.856,-5.026),(-62.02,-2.514),(-62.075,0),(-62.02,2.514),(-61.856,5.026),(-61.582,7.525),(-61.199,10.012),(-60.709,12.479),(-60.11,14.922),(-59.406,17.337),(-58.599,19.717),(-57.83,19.44),(-58.627,17.092),(-59.321,14.711),(-59.911,12.302),(-60.394,9.87),(-60.772,7.419),(-61.042,4.954),(-61.204,2.479),(-61.258,0),(-61.204,-2.479),(-61.042,-4.954),(-60.772,-7.419),(-60.394,-9.87),(-59.911,-12.302),(-59.321,-14.711),(-58.627,-17.092),(-57.83,-19.44)],
  [(-59.644,-20.096),(-60.467,-17.672),(-61.184,-15.211),(-61.794,-12.72),(-62.294,-10.205),(-62.684,-7.671),(-62.964,-5.121),(-63.131,-2.564),(-63.187,0),(-63.131,2.564),(-62.964,5.121),(-62.684,7.671),(-62.294,10.205),(-61.794,12.72),(-61.184,15.211),(-60.467,17.672),(-59.644,20.096),(-58.85,19.811),(-59.662,17.418),(-60.369,14.992),(-60.97,12.537),(-61.463,10.058),(-61.847,7.561),(-62.123,5.048),(-62.288,2.527),(-62.343,0),(-62.288,-2.527),(-62.123,-5.048),(-61.847,-7.561),(-61.463,-10.058),(-60.97,-12.537),(-60.369,-14.992),(-59.662,-17.418),(-58.85,-19.811)],
  [(-60.73,-20.492),(-61.568,-18.019),(-62.3,-15.508),(-62.922,-12.969),(-63.432,-10.406),(-63.829,-7.822),(-64.114,-5.223),(-64.285,-2.614),(-64.342,0),(-64.285,2.614),(-64.114,5.223),(-63.829,7.822),(-63.432,10.406),(-62.922,12.969),(-62.3,15.508),(-61.568,18.019),(-60.73,20.492),(-59.898,20.193),(-60.725,17.753),(-61.446,15.28),(-62.059,12.778),(-62.561,10.252),(-62.953,7.706),(-63.233,5.146),(-63.402,2.575),(-63.458,0),(-63.402,-2.575),(-63.233,-5.146),(-62.953,-7.706),(-62.561,-10.252),(-62.059,-12.778),(-61.446,-15.28),(-60.725,-17.753),(-59.898,-20.193)],
  [(-61.856,-20.9),(-62.711,-18.379),(-63.457,-15.819),(-64.091,-13.23),(-64.612,-10.614),(-65.017,-7.978),(-65.308,-5.327),(-65.482,-2.666),(-65.54,0),(-65.482,2.666),(-65.308,5.327),(-65.017,7.978),(-64.612,10.614),(-64.091,13.23),(-63.457,15.819),(-62.711,18.379),(-61.856,20.9),(-60.981,20.587),(-61.825,18.1),(-62.56,15.579),(-63.184,13.028),(-63.697,10.452),(-64.096,7.857),(-64.382,5.246),(-64.554,2.626),(-64.611,0),(-64.554,-2.626),(-64.382,-5.246),(-64.096,-7.857),(-63.697,-10.452),(-63.184,-13.028),(-62.56,-15.579),(-61.825,-18.1),(-60.981,-20.587)],
  [(-62.942,-21.297),(-63.814,-18.727),(-64.575,-16.118),(-65.221,-13.48),(-65.751,-10.814),(-66.164,-8.129),(-66.46,-5.429),(-66.638,-2.716),(-66.697,0),(-66.638,2.716),(-66.46,5.429),(-66.164,8.129),(-65.751,10.814),(-65.221,13.48),(-64.575,16.118),(-63.814,18.727),(-62.942,21.297),(-62.096,20.993),(-62.957,18.457),(-63.707,15.886),(-64.343,13.285),(-64.866,10.658),(-65.273,8.012),(-65.564,5.35),(-65.74,2.677),(-65.798,0),(-65.74,-2.677),(-65.564,-5.35),(-65.273,-8.012),(-64.866,-10.658),(-64.343,-13.285),(-63.707,-15.886),(-62.957,-18.457),(-62.096,-20.993)],
  [(-64.04,-21.697),(-64.93,-19.08),(-65.704,-16.421),(-66.362,-13.733),(-66.902,-11.018),(-67.323,-8.282),(-67.625,-5.53),(-67.805,-2.768),(-67.866,0),(-67.805,2.768),(-67.625,5.53),(-67.323,8.282),(-66.902,11.018),(-66.362,13.733),(-65.704,16.421),(-64.93,19.08),(-64.04,21.697),(-63.202,21.395),(-64.08,18.811),(-64.843,16.191),(-65.492,13.54),(-66.025,10.863),(-66.44,8.165),(-66.737,5.452),(-66.915,2.729),(-66.975,0),(-66.915,-2.729),(-66.737,-5.452),(-66.44,-8.165),(-66.025,-10.863),(-65.492,-13.54),(-64.843,-16.191),(-64.08,-18.811),(-63.202,-21.395)],
  [(-65.162,-22.102),(-66.066,-19.437),(-66.855,-16.73),(-67.526,-13.99),(-68.076,-11.225),(-68.505,-8.437),(-68.812,-5.634),(-68.996,-2.819),(-69.058,0),(-68.996,2.819),(-68.812,5.634),(-68.505,8.437),(-68.076,11.225),(-67.526,13.99),(-66.855,16.73),(-66.066,19.437),(-65.162,22.102),(-64.291,21.791),(-65.184,19.159),(-65.962,16.49),(-66.623,13.79),(-67.165,11.064),(-67.588,8.316),(-67.891,5.553),(-68.072,2.779),(-68.133,0),(-68.072,-2.779),(-67.891,-5.553),(-67.588,-8.316),(-67.165,-11.064),(-66.623,-13.79),(-65.962,-16.49),(-65.184,-19.159),(-64.291,-21.791)])

lib.write_gds('SOI340_oband_TM_rib_apodized_GC_focusing_v0p0_LFalse.gds')
